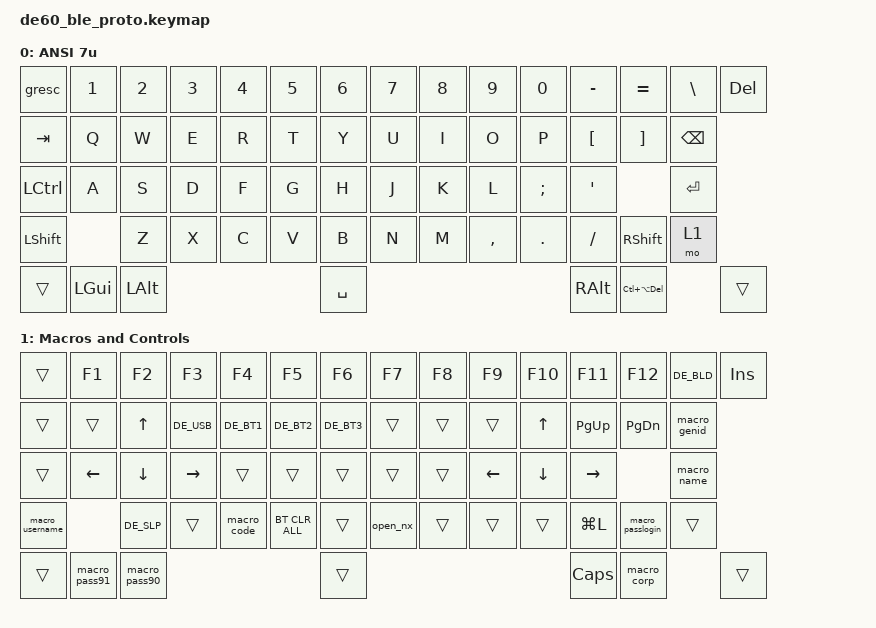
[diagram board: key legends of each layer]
#include "../common.keymap"

/*
 * Default ANSI 60% layout for the DE60 BLE Proto, based on the supplied
 * Tofu60 BLE v3 ANSI 7u keymap. The board matrix has 62 physical positions.
 */

/ {
    keymap {
        compatible = "zmk,keymap";

        default_layer {
            label = "ANSI 7u";
            bindings = <
                &gresc     &kp N1   &kp N2  &kp N3  &kp N4  &kp N5  &kp N6  &kp N7  &kp N8  &kp N9  &kp N0  &kp MINUS &kp EQUAL &kp BSLH  &kp DEL
                &kp TAB    &kp Q    &kp W   &kp E   &kp R   &kp T   &kp Y   &kp U   &kp I   &kp O   &kp P   &kp LBKT  &kp RBKT  &kp BSPC
                &kp LCTRL  &kp A    &kp S   &kp D   &kp F   &kp G   &kp H   &kp J   &kp K   &kp L   &kp SEMI &kp SQT             &kp RET
                &kp LSHFT           &kp Z   &kp X   &kp C   &kp V   &kp B   &kp N   &kp M   &kp COMMA &kp DOT &kp FSLH &kp RSHIFT &mo 1
                &trans     &kp LGUI &kp LALT                         &kp SPACE                                  &kp RALT &kp LC(LA(DEL)) &trans
            >;
        };

        layer_1 {
            label = "Macros and Controls";
            bindings = <
                &trans      &kp F1   &kp F2   &kp F3   &kp F4   &kp F5   &kp F6   &kp F7   &kp F8   &kp F9   &kp F10  &kp F11   &kp F12   &DE_BLD   &kp INS
                &trans      &trans   &kp UP   &DE_USB  &DE_BT1  &DE_BT2  &DE_BT3  &trans   &trans   &trans   &kp UP   &kp PG_UP &kp PG_DN &macro_genid
                &trans      &kp LEFT &kp DOWN &kp RIGHT &trans  &trans   &trans   &trans   &trans   &kp LEFT &kp DOWN &kp RIGHT           &macro_name
                &macro_username &DE_SLP &trans &macro_code &bt BT_CLR_ALL &trans &open_nx &trans &trans &trans &kp LG(L) &macro_passlogin &trans
                &trans      &macro_pass91 &macro_pass90                         &trans                           &kp CLCK &macro_corp &trans
            >;
        };

        layer_2 { status = "reserved"; };
        layer_3 { status = "reserved"; };
        layer_4 { status = "reserved"; };
        layer_5 { status = "reserved"; };
        layer_6 { status = "reserved"; };
        layer_7 { status = "reserved"; };
    };
};
